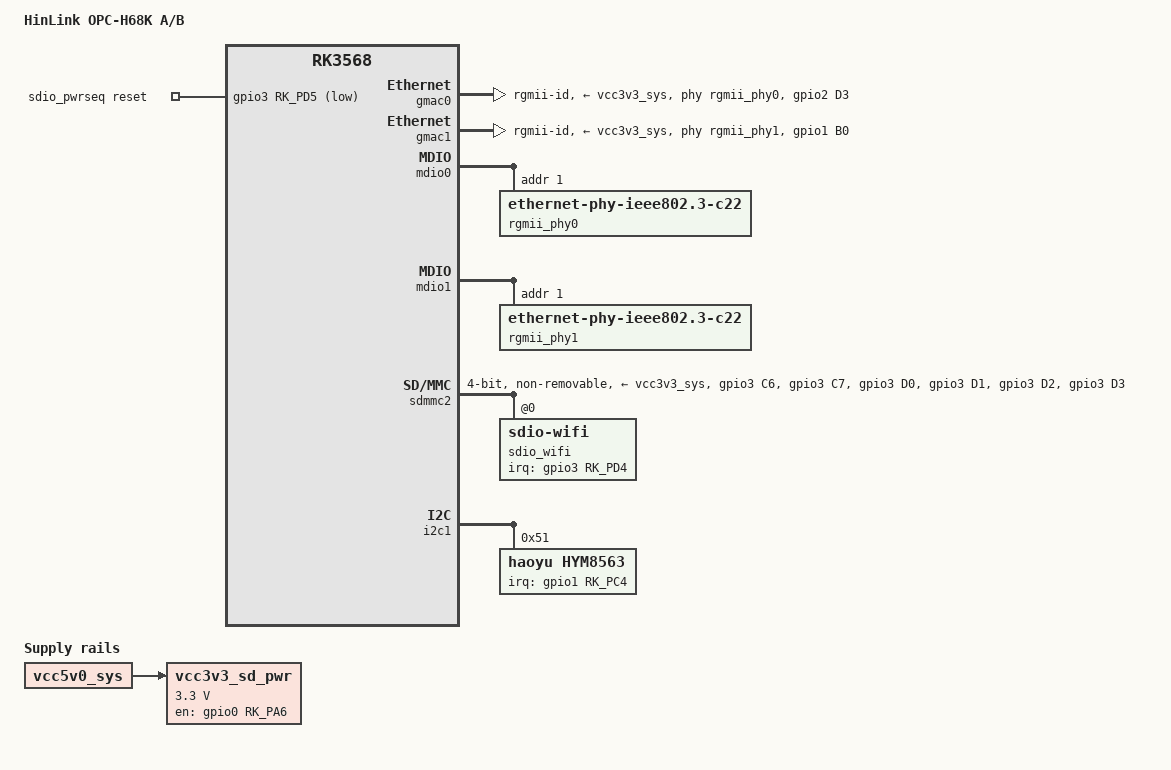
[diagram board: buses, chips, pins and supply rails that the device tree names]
// SPDX-License-Identifier: (GPL-2.0+ OR MIT)
/*
 * HinLink OPC-H68K A/B
 *
 * HinLink 适配for immortalwrt —— 每机型独立 DTS，不做自适应。
 *
 * 硬件事实来源：厂商 2022 R22.7.19/R22.8.22 固件 dtb（已解包反编译逐项核对）
 * 蓝本：OpenWrt 主线 rk3568-hinlink-h68k.dts
 *
 * 2022 老机器：2 个千兆口，无 2.5G，板载 SDIO WiFi（AP6256/Broadcom）+ RTC
 */

/dts-v1/;

#include "rk3568-hinlink-opc.dtsi"

/ {
	model = "HinLink OPC-H68K A/B";
	compatible = "hinlink,opc-h68k-a", "rockchip,rk3568";

	aliases {
		ethernet0 = &gmac0;
		ethernet1 = &gmac1;
	};
};
&gmac0 {
	assigned-clocks = <&cru SCLK_GMAC0_RX_TX>, <&cru SCLK_GMAC0>;
	assigned-clock-parents = <&cru SCLK_GMAC0_RGMII_SPEED>;
	assigned-clock-rates = <0>, <125000000>;
	clock_in_out = "output";
	phy-mode = "rgmii-id";
	phy-supply = <&vcc3v3_sys>;
	pinctrl-names = "default";
	pinctrl-0 = <&gmac0_miim
		     &gmac0_tx_bus2
		     &gmac0_rx_bus2
		     &gmac0_rgmii_clk
		     &gmac0_rgmii_bus
		     &gmac0_rstn>;
	snps,reset-gpios = <&gpio2 RK_PD3 GPIO_ACTIVE_LOW>;
	snps,reset-active-low;
	snps,reset-delays-us = <0 20000 100000>;
	tx_delay = <0x3c>;
	rx_delay = <0x2f>;
	phy-handle = <&rgmii_phy0>;
	status = "okay";
};

&gmac1 {
	assigned-clocks = <&cru SCLK_GMAC1_RX_TX>, <&cru SCLK_GMAC1>;
	assigned-clock-parents = <&cru SCLK_GMAC1_RGMII_SPEED>;
	assigned-clock-rates = <0>, <125000000>;
	clock_in_out = "output";
	phy-mode = "rgmii-id";
	phy-supply = <&vcc3v3_sys>;
	pinctrl-names = "default";
	pinctrl-0 = <&gmac1m1_miim
		     &gmac1m1_tx_bus2
		     &gmac1m1_rx_bus2
		     &gmac1m1_rgmii_clk
		     &gmac1m1_rgmii_bus
		     &gmac1_rstn>;
	snps,reset-gpios = <&gpio1 RK_PB0 GPIO_ACTIVE_LOW>;
	snps,reset-active-low;
	snps,reset-delays-us = <0 20000 100000>;
	tx_delay = <0x4f>;
	rx_delay = <0x26>;
	phy-handle = <&rgmii_phy1>;
	status = "okay";
};

&mdio0 {
	rgmii_phy0: ethernet-phy@1 {
		compatible = "ethernet-phy-ieee802.3-c22";
		reg = <0x1>;
	};
};

&mdio1 {
	rgmii_phy1: ethernet-phy@1 {
		compatible = "ethernet-phy-ieee802.3-c22";
		reg = <0x1>;
	};
};

/*
 * 2 网口变体：屏蔽两路 PCIe 2.5G
 * 仅保留 2 个 RGMII 千兆口
 */
&combphy1 {
	status = "disabled";
};

&combphy2 {
	status = "disabled";
};

&pcie3x1 {
	status = "disabled";
};

&pcie3x2 {
	status = "disabled";
};

&{/} {
	sdio_pwrseq: sdio-pwrseq {
		compatible = "mmc-pwrseq-simple";
		clocks = <&rk809 1>;
		clock-names = "ext_clock";
		pinctrl-names = "default";
		pinctrl-0 = <&wifi_enable>;
		post-power-on-delay-ms = <200>;
		power-off-delay-us = <5000000>;
		reset-gpios = <&gpio3 RK_PD5 GPIO_ACTIVE_LOW>;
	};
};

&{/} {
	vcc3v3_sd_pwr: vcc3v3-sd-pwr {
		compatible = "regulator-fixed";
		enable-active-high;
		gpio = <&gpio0 RK_PA6 GPIO_ACTIVE_HIGH>;
		pinctrl-names = "default";
		pinctrl-0 = <&vcc3v3_sd_pwr_en>;
		regulator-always-on;
		regulator-boot-on;
		regulator-min-microvolt = <3300000>;
		regulator-max-microvolt = <3300000>;
		regulator-name = "vcc3v3_sd_pwr";
		vin-supply = <&vcc5v0_sys>;
	};
};

&sdmmc2 {
	bus-width = <4>;
	cap-sd-highspeed;
	cap-sdio-irq;
	disable-wp;
	keep-power-in-suspend;
	max-frequency = <15000000>;
	mmc-pwrseq = <&sdio_pwrseq>;
	non-removable;
	pinctrl-names = "default";
	pinctrl-0 = <&sdmmc2m0_bus4 &sdmmc2m0_cmd &sdmmc2m0_clk>;
	sd-uhs-sdr25;
	sd-uhs-sdr50;
	sd-uhs-sdr104;
	status = "okay";
	vmmc-supply = <&vcc3v3_sys>;
	vqmmc-supply = <&vcc3v3_sd_pwr>;

	sdio_wifi: sdio-wifi@0 {
		interrupt-parent = <&gpio3>;
		interrupts = <RK_PD4 IRQ_TYPE_LEVEL_HIGH>;
		interrupt-names = "host-wake";
		reg = <0>;
	};
};

&i2c1 {
	hym8563: rtc@51 {
		compatible = "haoyu,hym8563";
		interrupt-parent = <&gpio1>;
		interrupts = <RK_PC4 IRQ_TYPE_EDGE_FALLING>;
		pinctrl-names = "default";
		pinctrl-0 = <&rtc_int>;
		reg = <0x51>;
	};
};

&rk809 {
	ext_32k_clk_out: ext-clk-32k-out {
		rockchip,grf = <&rk809_grf 0>;
		#clock-cells = <1>;
		clock-output-rate = <32768>;
	};
};


&pinctrl {
	sdmmc {
		vcc3v3_sd_pwr_en: vcc3v3-sd-pwr-en {
			rockchip,pins = <0 RK_PA6 RK_FUNC_GPIO &pcfg_pull_none>;
		};

		sdmmc2m0_bus4: sdmmc2m0-bus4 {
			rockchip,pins =
				<3 RK_PC6 RK_FUNC_3 &pcfg_pull_up_drv_level_2>,
				<3 RK_PC7 RK_FUNC_3 &pcfg_pull_up_drv_level_2>,
				<3 RK_PD0 RK_FUNC_3 &pcfg_pull_up_drv_level_2>,
				<3 RK_PD1 RK_FUNC_3 &pcfg_pull_up_drv_level_2>;
		};

		sdmmc2m0_cmd: sdmmc2m0-cmd {
			rockchip,pins = <3 RK_PD2 RK_FUNC_3 &pcfg_pull_up_drv_level_2>;
		};

		sdmmc2m0_clk: sdmmc2m0-clk {
			rockchip,pins = <3 RK_PD3 RK_FUNC_3 &pcfg_pull_up_drv_level_2>;
		};
	};

	wifi {
		wifi_enable: wifi-enable {
			rockchip,pins = <3 RK_PD5 RK_FUNC_GPIO &pcfg_pull_none>;
		};
	};
};


&pinctrl {
	rtc {
		rtc_int: rtc-int {
			rockchip,pins = <1 RK_PC4 RK_FUNC_GPIO &pcfg_pull_up>;
		};
	};
};

&pinctrl {
	gmac {
		gmac0_rstn: gmac0-rstn {
			rockchip,pins = <2 RK_PD3 RK_FUNC_GPIO &pcfg_pull_none>;
		};

		gmac1_rstn: gmac1-rstn {
			rockchip,pins = <1 RK_PB0 RK_FUNC_GPIO &pcfg_pull_none>;
		};
	};
};
